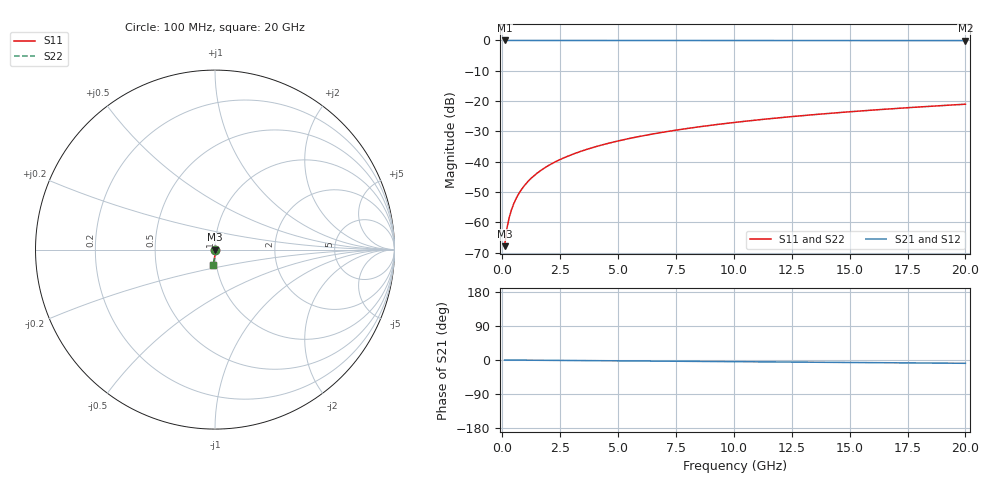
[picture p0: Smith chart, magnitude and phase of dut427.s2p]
! Touchstone file exported from HFSS 2026.1.0
!  File:  C:/ffzhzh/LocalFiles/Ansys_Project_Files/temp_train_TSV_427_1783021029_46388.aedt
!  Generated:  03:38:36 AM Jul  3, 2026
!  Design:  TSV
!  Project:  temp_train_TSV_427_1783021029_46388
! Variables:
!  h_bsmrdl = 2um
!  h_ox = 20um
!  h_rdl = 5um
!  h_sub = 75.01um
!  h_tmrdl = 5um
!  h_tsv = 75.01um
!  h_via = 3um
!  l_bsmrdl = 300um
!  l_sub = 425.44um
!  l_tmrdl = 200um
!  m_sub = 200um
!  pitch = 31.58um
!  r_tsv = 12.72um
!  s_tmrdl = 10um
!  w_bsmrdl = 18um
!  w_sub = 500um
!  w_tmrdl = 12um
!  x_tsv_center1 = 206um
!  x_tsv_center2 = 524um
!  x_tsv_center3 = 736um
!  x_tsv_center4 = 1054um
!  x_tsv_center5 = 1266um
!  x_tsv_center6 = 1584um
# GHz S MA R 50.000000
! Terminal data exported
! Port[1] = TSV1_1_T1
! Port[2] = TSV1_1_T2
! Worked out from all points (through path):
!   200 points, 100 MHz to 20 GHz, reference 50 ohm
!   highest |S21| = 0.00 dB at 100 MHz (marker M1); lowest = 0.0 dB at 20 GHz (marker M2)
!   group delay of S21, straight-line fit = 1.21 ps
!   lowest |S11| = -67.8 dB at 100 MHz (marker M3), VSWR 1.00, Z = 50 - j0.0394 ohm
!   |S11| at or under -10 dB: start of sweep to end of sweep
!   |S22| runs from -67.8 to -21.0 dB; largest |S21 - S12| = 2.3e-15
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0.1  0.0004062 -76.0  0.9999 -0.0  0.9999 -0.0  0.0004062 -76.0
! Gamma 0 0 0 0
! Port Impedance 50 0 50 0
0.2  0.0008019 -81.7  0.9999 -0.1  0.9999 -0.1  0.0008019 -81.7
0.3  0.00121 -83.4  0.9999 -0.1  0.9999 -0.1  0.00121 -83.4
0.4  0.001628 -84.1  0.9998 -0.2  0.9998 -0.2  0.001628 -84.1
0.5  0.002054 -84.6  0.9998 -0.2  0.9998 -0.2  0.002054 -84.6
0.7  0.002925 -85.3  0.9997 -0.3  0.9997 -0.3  0.002925 -85.3
0.8  0.003365 -85.6  0.9997 -0.4  0.9997 -0.4  0.003365 -85.6
1  0.004251 -86.2  0.9997 -0.4  0.9997 -0.4  0.004251 -86.2
1.2  0.005139 -86.7  0.9996 -0.5  0.9996 -0.5  0.005139 -86.7
1.4  0.006027 -87.1  0.9996 -0.6  0.9996 -0.6  0.006027 -87.1
1.7  0.007359 -87.6  0.9996 -0.8  0.9996 -0.8  0.007359 -87.6
2  0.008691 -88.1  0.9995 -0.9  0.9995 -0.9  0.008691 -88.1
2.7  0.0118 -88.9  0.9994 -1.2  0.9994 -1.2  0.0118 -88.9
3.5  0.01535 -89.5  0.9993 -1.5  0.9993 -1.5  0.01535 -89.5
4.2  0.01847 -90.0  0.9992 -1.8  0.9992 -1.8  0.01847 -90.0
5  0.02203 -90.5  0.9991 -2.2  0.9991 -2.2  0.02203 -90.5
6.8  0.03008 -91.5  0.9988 -3.0  0.9988 -3.0  0.03008 -91.5
8.3  0.03679 -92.3  0.9985 -3.6  0.9985 -3.6  0.03679 -92.3
10.1  0.04485 -93.2  0.998 -4.4  0.998 -4.4  0.04485 -93.2
13.4  0.05959 -94.8  0.9971 -5.8  0.9971 -5.8  0.05959 -94.8
16.7  0.07428 -96.3  0.996 -7.3  0.996 -7.3  0.07428 -96.3
20  0.08892 -97.8  0.9947 -8.7  0.9947 -8.7  0.08892 -97.8
